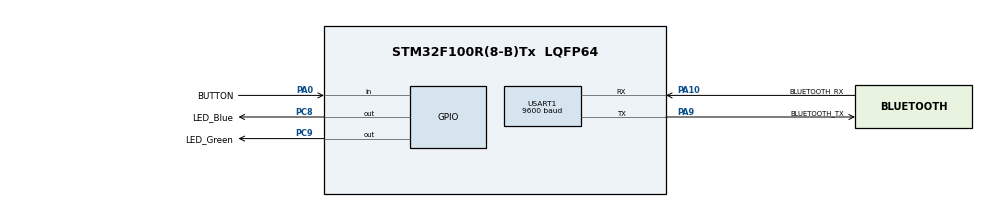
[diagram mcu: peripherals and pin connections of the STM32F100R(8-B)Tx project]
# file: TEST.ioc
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Dma.Request0=USART1_TX
Dma.Request1=USART1_RX
Dma.USART1_RX.1.Direction=DMA_PERIPH_TO_MEMORY
Dma.USART1_RX.1.Instance=DMA1_Channel5
Dma.USART1_RX.1.MemDataAlignment=DMA_MDATAALIGN_BYTE
Dma.USART1_RX.1.MemInc=DMA_MINC_ENABLE
Dma.USART1_RX.1.Mode=DMA_NORMAL
Dma.USART1_RX.1.PeriphDataAlignment=DMA_PDATAALIGN_BYTE
Dma.USART1_RX.1.PeriphInc=DMA_PINC_DISABLE
Dma.USART1_RX.1.Priority=DMA_PRIORITY_LOW
Dma.USART1_TX.0.Direction=DMA_MEMORY_TO_PERIPH
Dma.USART1_TX.0.Instance=DMA1_Channel4
Dma.USART1_TX.0.MemDataAlignment=DMA_MDATAALIGN_BYTE
Dma.USART1_TX.0.MemInc=DMA_MINC_ENABLE
Dma.USART1_TX.0.Mode=DMA_NORMAL
Dma.USART1_TX.0.PeriphDataAlignment=DMA_PDATAALIGN_BYTE
Dma.USART1_TX.0.PeriphInc=DMA_PINC_DISABLE
Dma.USART1_TX.0.Priority=DMA_PRIORITY_LOW
Mcu.Family=STM32F1
Mcu.Name=STM32F100R(8-B)Tx
Mcu.Package=LQFP64
NVIC.DMA1_Channel4_IRQn=true\:0\:0\:false\:false\:true
NVIC.DMA1_Channel5_IRQn=true\:0\:0\:false\:false\:true
NVIC.PriorityGroup=NVIC_PRIORITYGROUP_4
NVIC.USART1_IRQn=true\:0\:0\:false\:false\:true
PA0-WKUP.GPIO_Label=BUTTON
PA0-WKUP.Signal=GPIO_Input
PA10.GPIO_Label=BLUETOOTH_RX
PA10.Mode=Asynchronous
PA10.Signal=USART1_RX
PA9.GPIO_Label=BLUETOOTH_TX
PA9.Mode=Asynchronous
PA9.Signal=USART1_TX
PC8.GPIO_Label=LED_Blue
PC8.Signal=GPIO_Output
PC9.GPIO_Label=LED_Green
PC9.Signal=GPIO_Output
ProjectManager.HeapSize=0x200
ProjectManager.StackSize=0x400
ProjectManager.TargetToolchain=SW4STM32
RCC.APB1Freq_Value=8000000
RCC.APB2Freq_Value=8000000
USART1.BaudRate=9600
board=TEST

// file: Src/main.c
/**
  ******************************************************************************
  * File Name          : main.c
  * Description        : Main program body
  ******************************************************************************
  *
  * COPYRIGHT(c) 2016 STMicroelectronics
  *
  * Redistribution and use in source and binary forms, with or without modification,
  * are permitted provided that the following conditions are met:
  *   1. Redistributions of source code must retain the above copyright notice,
  *      this list of conditions and the following disclaimer.
  *   2. Redistributions in binary form must reproduce the above copyright notice,
  *      this list of conditions and the following disclaimer in the documentation
  *      and/or other materials provided with the distribution.
  *   3. Neither the name of STMicroelectronics nor the names of its contributors
  *      may be used to endorse or promote products derived from this software
  *      without specific prior written permission.
  *
  * THIS SOFTWARE IS PROVIDED BY THE COPYRIGHT HOLDERS AND CONTRIBUTORS "AS IS"
  * AND ANY EXPRESS OR IMPLIED WARRANTIES, INCLUDING, BUT NOT LIMITED TO, THE
  * IMPLIED WARRANTIES OF MERCHANTABILITY AND FITNESS FOR A PARTICULAR PURPOSE ARE
  * DISCLAIMED. IN NO EVENT SHALL THE COPYRIGHT HOLDER OR CONTRIBUTORS BE LIABLE
  * FOR ANY DIRECT, INDIRECT, INCIDENTAL, SPECIAL, EXEMPLARY, OR CONSEQUENTIAL
  * DAMAGES (INCLUDING, BUT NOT LIMITED TO, PROCUREMENT OF SUBSTITUTE GOODS OR
  * SERVICES; LOSS OF USE, DATA, OR PROFITS; OR BUSINESS INTERRUPTION) HOWEVER
  * CAUSED AND ON ANY THEORY OF LIABILITY, WHETHER IN CONTRACT, STRICT LIABILITY,
  * OR TORT (INCLUDING NEGLIGENCE OR OTHERWISE) ARISING IN ANY WAY OUT OF THE USE
  * OF THIS SOFTWARE, EVEN IF ADVISED OF THE POSSIBILITY OF SUCH DAMAGE.
  *
  ******************************************************************************
  */
#include "stm32f1xx_hal.h"

/* USER CODE BEGIN Includes */

// - - - - - - - - - - - - - - - ------------------- - - - - - - - - - - - - -//
// - - - - - - - - - - - - - - - | I N C L U D E S | - - - - - - - - - - - - -//
// - - - - - - - - - - - - - - - ------------------- - - - - - - - - - - - - -//
// definicja bool
#include <stdbool.h>
#include <stdio.h>
#include <string.h>
// - - - - - - - - - - - - - - - ------------------- - - - - - - - - - - - - -//
// - - - - - - - - - - - - - - - | I N C L U D E S | - - - - - - - - - - - - -//
// - - - - - - - - - - - - - - - ------------------- - - - - - - - - - - - - -//

/* USER CODE END Includes */

UART_HandleTypeDef huart1;
DMA_HandleTypeDef hdma_usart1_tx;
DMA_HandleTypeDef hdma_usart1_rx;

/* USER CODE BEGIN PV */
/* Private variables ---------------------------------------------------------*/

// - - - - - - - - - - - - - - --------------------- - - - - - - - - - - - - -//
// - - - - - - - - - - - - - - | V A R I A B L E S | - - - - - - - - - - - - -//
// - - - - - - - - - - - - - - --------------------- - - - - - - - - - - - - -//
//odebrany ciag
uint8_t receivedValue[5];

// wysylany ciag
uint8_t sentValue[2];

// oszukane wartosci akcelerometru (zakres od -1024 do 1024)
int16_t x, y, z;

// aktywnosc scian
uint8_t planeActive1, planeActive2, planeActive3, planeActive4, planeActive5;

// poprzednia sciana na gorze (domyslnie sciana 0 [x = 0, y = 0, z = (-1024-1024)])
uint8_t previousPlane;

// obecna sciana na gorze
uint8_t presentPlane;

// stan przycisku cofania
uint8_t buttonClicked;
// - - - - - - - - - - - - - - --------------------- - - - - - - - - - - - - -//
// - - - - - - - - - - - - - - | V A R I A B L E S | - - - - - - - - - - - - -//
// - - - - - - - - - - - - - - --------------------- - - - - - - - - - - - - -//

/* USER CODE END PV */

void SystemClock_Config(void);
static void MX_GPIO_Init(void);
static void MX_DMA_Init(void);
static void MX_USART1_UART_Init(void);

/* USER CODE BEGIN PFP */
/* Private function prototypes -----------------------------------------------*/

// - - - - - - - - - - - - - - --------------------- - - - - - - - - - - - - -//
// - - - - - - - - - - - - - - | F U N C T I O N S | - - - - - - - - - - - - -//
// - - - - - - - - - - - - - - --------------------- - - - - - - - - - - - - -//

// - - - - - - - - - - - - - - --------------------- - - - - - - - - - - - - -//
// - - - - - - - - - - - - - - | F U N C T I O N S | - - - - - - - - - - - - -//
// - - - - - - - - - - - - - - --------------------- - - - - - - - - - - - - -//

/* USER CODE END PFP */

int main(void)
{

  /* USER CODE BEGIN 1 */

	// - - - - - - - - - - - - - - --------------------- - - - - - - - - - - - - -//
	// - - - - - - - - - - - - - - | V A R I A B L E S | - - - - - - - - - - - - -//
	// - - - - - - - - - - - - - - --------------------- - - - - - - - - - - - - -//

	x = 0;
	y = 0;
	z = 0;

	planeActive1 = 0;
	planeActive2 = 0;
	planeActive3 = 0;
	planeActive4 = 0;
	planeActive5 = 0;

	previousPlane = 0;
	buttonClicked = 0;

	// - - - - - - - - - - - - - - --------------------- - - - - - - - - - - - - -//
	// - - - - - - - - - - - - - - | V A R I A B L E S | - - - - - - - - - - - - -//
	// - - - - - - - - - - - - - - --------------------- - - - - - - - - - - - - -//

  /* USER CODE END 1 */

  /* MCU Configuration----------------------------------------------------------*/

  /* Reset of all peripherals, Initializes the Flash interface and the Systick. */
  HAL_Init();

  /* Configure the system clock */
  SystemClock_Config();

  /* Initialize all configured peripherals */
  MX_GPIO_Init();
  MX_DMA_Init();
  MX_USART1_UART_Init();

  /* Infinite loop */
  /* USER CODE BEGIN WHILE */

  //- - - - - - - - - - - - - - - -------------------- - - - - - - - - - - - - -//
  //- - - - - - - - - - - - - - - | M A I N  L O O P | - - - - - - - - - - - - -//
  //- - - - - - - - - - - - - - - -------------------- - - - - - - - - - - - - -//
  while (1)
  {
	  //nas³uchuj transmisji Bluetooth
	  if (HAL_UART_Receive_DMA(&huart1, receivedValue, 5)) {
		  // jesli pierwszy znak to "1" to zapal pierwsza sciane (ustaw jako aktywna)
		  if (receivedValue[0] == 49) {
			  HAL_GPIO_WritePin(LED_Blue_GPIO_Port, LED_Blue_Pin, SET);
			  planeActive1 = 1;
		  } else {
			  HAL_GPIO_WritePin(LED_Blue_GPIO_Port, LED_Blue_Pin, RESET);
			  planeActive1 = 0;
		  }
		  // jesli drugi znak to "1" to zapal druga sciane (ustaw jako aktywna)
		  if (receivedValue[1] == 49) {
			  HAL_GPIO_WritePin(LED_Green_GPIO_Port, LED_Green_Pin, SET);
			  planeActive2 = 1;
		  } else {
			  HAL_GPIO_WritePin(LED_Green_GPIO_Port, LED_Green_Pin, RESET);
			  planeActive2 = 0;
		  }
		  // gdyby bylo wiecej diod mozna wtedy zaprogramowac zapalanie wszystkich scian
	  }

	  // wyznaczenie sciany znajdujacej sie na gorze na podstawie wartosci z oszukanego akcelerometru
	  // Sciana gorna
	  if (x > -256 && x < 256) {
		  if (y > -256 && y < 256) {
			  presentPlane = 0;
		  }
	  }

	  // Sciana dolna
	  if ((x >= -1024 && x < -768) || (x > 768 && x <= 1024)) {
		  if (y > -256 && y < 256) {
			  if (planeActive1 == 1) {
				  presentPlane = 1;
			  }
		  }
	  }
	  if (x > -256 && x < 256) {
		  if ((y >= -1024 && y < -768) || (y > 768 && y <= 1024)) {
			  if (planeActive1 == 1) {
				  presentPlane = 1;
			  }
		  }
	  }

	  // Sciana lewa
	  if (x > 256 && x < 768) {
		  if (z > -256 && z < 256) {
			  if (planeActive2 == 1) {
				  presentPlane = 2;
			  }
		  }
	  }
	  if (x > -256 && x < 256) {
		  if ((y > -768 && y < -256) || (y > 256 && y < 768)) {
			  if (z > 256 && z < 768) {
				  if (planeActive2 == 1) {
					  presentPlane = 2;
				  }
			  }
		  }
	  }

	  // Sciana prawa
	  if (x > -768 && x < -256) {
		  if (z > -256 && z < 256) {
			  if (planeActive3 == 1) {
				  presentPlane = 3;
			  }
		  }
	  }
	  if (x > -256 && x < 256) {
		  if ((y > -768 && y < -256) || (y > 256 && y < 768)) {
			  if (z > -768 && z < -256) {
				  if (planeActive3 == 1) {
					  presentPlane = 3;
				  }
			  }
		  }
	  }

	  // Sciana przednia
	  if (y > 256 && y < 768) {
		  if (z > -256 && z < 256) {
			  if (planeActive4 == 1) {
				  presentPlane = 4;
			  }
		  }
	  }

	  // Sciana tylna
	  if (y > -768 && y < -256) {
		  if (z > -256 && z < 256) {
			  if (planeActive5 == 1) {
				  presentPlane = 5;
			  }
		  }
	  }

	  // sprawdzenie stanu przycisku cofania
	  if (HAL_GPIO_ReadPin(BUTTON_GPIO_Port, BUTTON_Pin) == GPIO_PIN_SET) {
		  buttonClicked = 1;
	  } else {
		  buttonClicked = 0;
	  }

	  if (buttonClicked == 1) {
		  // aktualizacja wysylanych danych
		  sprintf(sentValue, "%d%d", presentPlane, buttonClicked);

		  // wyslanie komunikatu do aplikacji
		  HAL_UART_Transmit_DMA(&huart1, sentValue, 2);

		  // prosty debounce
		  HAL_Delay(500);
	  }

	  // jesli obecna sciana na gorze kostki jest rozna od poprzedniej lub gdy wcisnieto przycisk
	  if (previousPlane != presentPlane) {
		  // aktualizacja wysylanych danych
		  sprintf(sentValue, "%d%d", presentPlane, buttonClicked);

		  // wyslanie komunikatu do aplikacji
		  HAL_UART_Transmit_DMA(&huart1, sentValue, 2);

		  // zapisanie aktualnej sciany jako poprzednia
		  previousPlane = presentPlane;
	  }
  //- - - - - - - - - - - - - - - -------------------- - - - - - - - - - - - - -//
  //- - - - - - - - - - - - - - - | M A I N  L O O P | - - - - - - - - - - - - -//
  //- - - - - - - - - - - - - - - -------------------- - - - - - - - - - - - - -//

  /* USER CODE END WHILE */

  }

}

/** System Clock Configuration
*/
void SystemClock_Config(void)
{

  RCC_OscInitTypeDef RCC_OscInitStruct;
  RCC_ClkInitTypeDef RCC_ClkInitStruct;

  RCC_OscInitStruct.OscillatorType = RCC_OSCILLATORTYPE_HSI;
  RCC_OscInitStruct.HSIState = RCC_HSI_ON;
  RCC_OscInitStruct.HSICalibrationValue = 16;
  RCC_OscInitStruct.PLL.PLLState = RCC_PLL_NONE;
  HAL_RCC_OscConfig(&RCC_OscInitStruct);

  RCC_ClkInitStruct.ClockType = RCC_CLOCKTYPE_HCLK|RCC_CLOCKTYPE_SYSCLK
                              |RCC_CLOCKTYPE_PCLK1|RCC_CLOCKTYPE_PCLK2;
  RCC_ClkInitStruct.SYSCLKSource = RCC_SYSCLKSOURCE_HSI;
  RCC_ClkInitStruct.AHBCLKDivider = RCC_SYSCLK_DIV1;
  RCC_ClkInitStruct.APB1CLKDivider = RCC_HCLK_DIV1;
  RCC_ClkInitStruct.APB2CLKDivider = RCC_HCLK_DIV1;
  HAL_RCC_ClockConfig(&RCC_ClkInitStruct, FLASH_LATENCY_0);

  HAL_SYSTICK_Config(HAL_RCC_GetHCLKFreq()/1000);

  HAL_SYSTICK_CLKSourceConfig(SYSTICK_CLKSOURCE_HCLK);

  /* SysTick_IRQn interrupt configuration */
  HAL_NVIC_SetPriority(SysTick_IRQn, 0, 0);
}

/* USART1 init function */
void MX_USART1_UART_Init(void)
{

  huart1.Instance = USART1;
  huart1.Init.BaudRate = 9600;
  huart1.Init.WordLength = UART_WORDLENGTH_8B;
  huart1.Init.StopBits = UART_STOPBITS_1;
  huart1.Init.Parity = UART_PARITY_NONE;
  huart1.Init.Mode = UART_MODE_TX_RX;
  huart1.Init.HwFlowCtl = UART_HWCONTROL_NONE;
  huart1.Init.OverSampling = UART_OVERSAMPLING_16;
  HAL_UART_Init(&huart1);

}

void MX_DMA_Init(void)
{
  /* DMA controller clock enable */
  __HAL_RCC_DMA1_CLK_ENABLE();

  /* DMA interrupt init */
  /* DMA1_Channel4_IRQn interrupt configuration */
  HAL_NVIC_SetPriority(DMA1_Channel4_IRQn, 0, 0);
  HAL_NVIC_EnableIRQ(DMA1_Channel4_IRQn);
  /* DMA1_Channel5_IRQn interrupt configuration */
  HAL_NVIC_SetPriority(DMA1_Channel5_IRQn, 0, 0);
  HAL_NVIC_EnableIRQ(DMA1_Channel5_IRQn);

}

/** Configure pins as
        * Analog
        * Input
        * Output
        * EVENT_OUT
        * EXTI
*/
void MX_GPIO_Init(void)
{

  GPIO_InitTypeDef GPIO_InitStruct;

  /* GPIO Ports Clock Enable */
  __HAL_RCC_GPIOA_CLK_ENABLE();
  __HAL_RCC_GPIOC_CLK_ENABLE();

  /*Configure GPIO pin : BUTTON_Pin */
  GPIO_InitStruct.Pin = BUTTON_Pin;
  GPIO_InitStruct.Mode = GPIO_MODE_INPUT;
  GPIO_InitStruct.Pull = GPIO_NOPULL;
  HAL_GPIO_Init(BUTTON_GPIO_Port, &GPIO_InitStruct);

  /*Configure GPIO pins : LED_Blue_Pin LED_Green_Pin */
  GPIO_InitStruct.Pin = LED_Blue_Pin|LED_Green_Pin;
  GPIO_InitStruct.Mode = GPIO_MODE_OUTPUT_PP;
  GPIO_InitStruct.Speed = GPIO_SPEED_FREQ_LOW;
  HAL_GPIO_Init(GPIOC, &GPIO_InitStruct);

  /*Configure GPIO pin Output Level */
  HAL_GPIO_WritePin(GPIOC, LED_Blue_Pin|LED_Green_Pin, GPIO_PIN_RESET);

}

/* USER CODE BEGIN 4 */

// - - - - - - - - - - - - - - --------------------- - - - - - - - - - - - - -//
// - - - - - - - - - - - - - - | F U N C T I O N S | - - - - - - - - - - - - -//
// - - - - - - - - - - - - - - --------------------- - - - - - - - - - - - - -//

// - - - - - - - - - - - - - - --------------------- - - - - - - - - - - - - -//
// - - - - - - - - - - - - - - | F U N C T I O N S | - - - - - - - - - - - - -//
// - - - - - - - - - - - - - - --------------------- - - - - - - - - - - - - -//

/* USER CODE END 4 */

/************************ (C) COPYRIGHT STMicroelectronics *****END OF FILE****/
